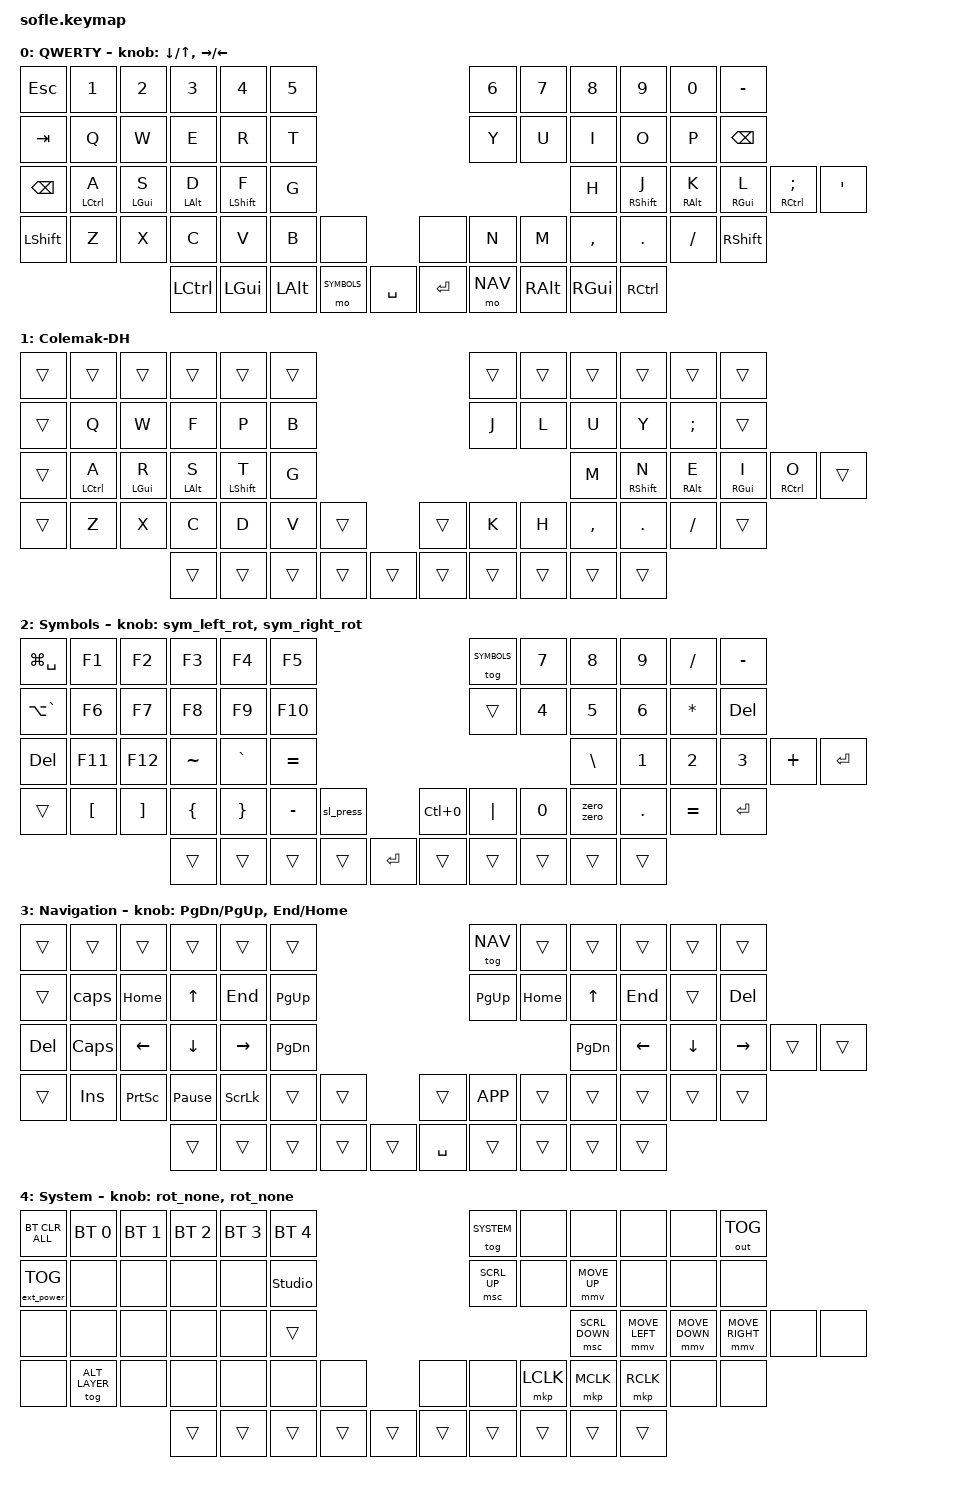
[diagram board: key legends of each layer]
/*
 * Copyright (c) 2020 The ZMK Contributors
 *
 * SPDX-License-Identifier: MIT
 */
#include <behaviors.dtsi>
#include <dt-bindings/zmk/bt.h>
#include <dt-bindings/zmk/ext_power.h>
#include <dt-bindings/zmk/keys.h>
#include <dt-bindings/zmk/pointing.h>
#include <dt-bindings/zmk/outputs.h>

// Encoders
&sensors { triggers-per-rotation = <20>; };
&left_encoder { steps = <80>; };
&right_encoder { steps = <80>; };
// V15: was triggers-per-rotation=30 / steps=60 (ratio 2 counts/trigger),
// which fired two logical triggers per physical detent on this hardware.
// 20/80 (ratio 4 counts/trigger) matches standard 20-detent EC11 encoders.
// First-guess fix, not yet hardware-verified — may need further tuning.

#define BASE     0
#define ALT_LAYER 1
#define SYMBOLS  2
#define NAV      3
#define SYSTEM   4

/ {
    // Activate SYSTEM layer by holding Raise (Symbols) and Lower (Nav) together
    conditional_layers {
        compatible = "zmk,conditional-layers";
        system_layer {
            if-layers = <SYMBOLS NAV>;
            then-layer = <SYSTEM>;
        };
    };

    // Sticky-modifier combos and Raise/Lower tap-dance (sticky/lock layers)
    // were removed by request — accidental repeated presses risked locking
    // a layer/modifier on unintentionally. Command Palette combo kept.
    behaviors {
        caps: caps {
            compatible = "zmk,behavior-caps-word";
            label = "CAPS";
            #binding-cells = <0>;
            continue-list = <POUND MINUS BACKSPACE UNDERSCORE>;
        };
        // Explicitly unbound encoder rotation (System layer, both encoders —
        // holding both Raise+Lower to reach this layer while also spinning
        // an encoder isn't practical, so left deliberately inert)
        rot_none: rot_none {
            compatible = "zmk,behavior-sensor-rotate";
            #sensor-binding-cells = <0>;
            bindings = <&none>, <&none>;
        };

        // ---------------------------------------------------------------
        // PHASE 2: Home-row mods — bilateral (cross-hand) positional hold-tap.
        // One behavior per hand; mod + tap keycode supplied per key position
        // below, so the same hml/hmr definitions serve both Base (QWERTY)
        // and the Colemak-DH overlay (only the tap letter differs per layer).
        // hold-trigger-key-positions restricts a "hold" to only register when
        // confirmed by a key press on the OPPOSITE hand (reduces accidental
        // mod-firing during normal same-hand typing rolls).
        // ---------------------------------------------------------------
        hml: home_row_mod_left {
            compatible = "zmk,behavior-hold-tap";
            label = "HRM_LEFT";
            #binding-cells = <2>;
            flavor = "balanced";
            tapping-term-ms = <200>;
            quick-tap-ms = <150>;
            require-prior-idle-ms = <120>;
            bindings = <&kp>, <&kp>;
            hold-trigger-key-positions = <6 7 8 9 10 11 18 19 20 21 22 23 30 31 32 33 34 35 43 44 45 46 47 48 49 55 56 57 58 59>;
            hold-trigger-on-release;
        };
        hmr: home_row_mod_right {
            compatible = "zmk,behavior-hold-tap";
            label = "HRM_RIGHT";
            #binding-cells = <2>;
            flavor = "balanced";
            tapping-term-ms = <200>;
            quick-tap-ms = <150>;
            require-prior-idle-ms = <120>;
            bindings = <&kp>, <&kp>;
            hold-trigger-key-positions = <0 1 2 3 4 5 12 13 14 15 16 17 24 25 26 27 28 29 36 37 38 39 40 41 42 50 51 52 53 54>;
            hold-trigger-on-release;
        };

        // ---------------------------------------------------------------
        // PHASE 2/2.1: Modifier-conditional encoders (nested mod-morph,
        // priority Ctrl > Alt > Shift > default). Only built where the
        // "held" variant is a genuinely different action — Base-right stays
        // untouched (all its variants are free Mod+key stacking). Navigation
        // needed real branching added for ctrl_held only (V15 fix — Ctrl+
        // PageUp/PageDown and Ctrl+Delete/Backspace are NOT simple stacking,
        // they're different keys entirely; shift_held/alt_held on Nav remain
        // free).
        //
        // V15: Base-left default/shift direction reversed (CW=Down,
        // CCW=Up) per feel preference. Base-left's alt_held now sends bare
        // Tab/Shift+Tab (not Alt+Tab/Alt+Shift+Tab) so the real, already-held
        // Alt modifier stays down across repeated taps — this keeps
        // Windows' Alt-Tab switcher UI open until Alt is released, instead
        // of flashing and dismissing immediately.
        //
        // NOTE: the keymap-current YAML/SVG previously had Base-right and
        // both Navigation encoders' CW/CCW documentation swapped vs what the
        // firmware actually sends — fixed in V15 docs.
        // ---------------------------------------------------------------

        // V16: bl_cw/bl_ccw mod-morph chains removed — base-left encoder
        // rotation is now a plain inc_dec_kp (see sensor-bindings below), so
        // any physically-held modifier (Ctrl/Alt/Shift) stacks naturally
        // onto Down/Up without needing dedicated behaviors.
        // V17: bl_press/bl_press_a removed entirely — both Base encoders'
        // push-buttons (positions 7/8 in row 4) are now unbound (&none).
        // Rotation-only on both encoders; pressing them wasn't comfortable
        // enough to be worth keeping a press action.

        sl_cw_a: sl_cw_a {
            compatible = "zmk,behavior-mod-morph";
            #binding-cells = <0>;
            bindings = <&kp C_VOL_UP>, <&kp C_NEXT>;
            mods = <(MOD_LALT|MOD_RALT)>;
        };
        sl_cw: sl_cw {
            compatible = "zmk,behavior-mod-morph";
            #binding-cells = <0>;
            bindings = <&sl_cw_a>, <&kp C_BRI_UP>;
            mods = <(MOD_LCTL|MOD_RCTL)>;
        };
        sl_ccw_a: sl_ccw_a {
            compatible = "zmk,behavior-mod-morph";
            #binding-cells = <0>;
            bindings = <&kp C_VOL_DN>, <&kp C_PREV>;
            mods = <(MOD_LALT|MOD_RALT)>;
        };
        sl_ccw: sl_ccw {
            compatible = "zmk,behavior-mod-morph";
            #binding-cells = <0>;
            bindings = <&sl_ccw_a>, <&kp C_BRI_DN>;
            mods = <(MOD_LCTL|MOD_RCTL)>;
        };
        sl_press_a: sl_press_a {
            compatible = "zmk,behavior-mod-morph";
            #binding-cells = <0>;
            bindings = <&kp C_MUTE>, <&kp C_PP>;
            mods = <(MOD_LALT|MOD_RALT)>;
        };
        sl_press: sl_press {
            compatible = "zmk,behavior-mod-morph";
            #binding-cells = <0>;
            bindings = <&sl_press_a>, <&none>;
            mods = <(MOD_LCTL|MOD_RCTL)>;
        };

        // V16: sr_cw_s/sr_ccw_s (shift-held Ctrl+Y/Ctrl+Z) and the whole
        // sr_press chain (shift/ctrl/alt press variants: PrtScn, Ctrl+S,
        // Alt+F4) were removed by request. Press now just sends Ctrl+0
        // directly in the layer bindings (no behavior needed). Rotation's
        // shift branch folded away — shift+encoder now falls through to
        // the same default as no modifier.
        sr_cw_a: sr_cw_a {
            compatible = "zmk,behavior-mod-morph";
            #binding-cells = <0>;
            // V20 fix: bare TAB (not LA(TAB)) so the real, already-held Alt
            // stays down across repeated taps -- keeps the Windows Alt-Tab
            // switcher open instead of flashing/dismissing each rotation.
            bindings = <&kp LC(EQUAL)>, <&kp TAB>;
            mods = <(MOD_LALT|MOD_RALT)>;
        };
        sr_cw: sr_cw {
            compatible = "zmk,behavior-mod-morph";
            #binding-cells = <0>;
            bindings = <&sr_cw_a>, <&kp LC(TAB)>;
            mods = <(MOD_LCTL|MOD_RCTL)>;
        };
        sr_ccw_a: sr_ccw_a {
            compatible = "zmk,behavior-mod-morph";
            #binding-cells = <0>;
            // V20 fix: bare Shift+Tab (not Alt+Shift+Tab) -- see sr_cw_a note.
            bindings = <&kp LC(MINUS)>, <&kp LS(TAB)>;
            mods = <(MOD_LALT|MOD_RALT)>;
        };
        sr_ccw: sr_ccw {
            compatible = "zmk,behavior-mod-morph";
            #binding-cells = <0>;
            bindings = <&sr_ccw_a>, <&kp LC(LS(TAB))>;
            mods = <(MOD_LCTL|MOD_RCTL)>;
        };

        // Navigation ctrl-held branches (V15): default (Down/Up, Right/Left)
        // is free with real Shift/Alt held (natural stacking), but ctrl_held
        // sends genuinely different keys (PageUp/PageDown, Delete/Backspace)
        // so it needs real branching like the others above.
        // V16: nav_left_cw/ccw and nav_right_cw/ccw mod-morph chains
        // removed — both Nav encoders are now plain inc_dec_kp (PgUp/PgDn,
        // Home/End — see sensor-bindings below), so held modifiers stack
        // naturally instead of needing explicit branches.

        // Sensor-rotate wrappers: sensor-bindings takes ONE entry per
        // encoder (not per direction), and that entry must itself be a
        // #sensor-binding-cells=0 behavior with separate cw/ccw bindings
        // (same pattern as rot_none above). These wrap the mod-morph chains
        // above so they can be used in sensor-bindings.
        sym_left_rot: sym_left_rot {
            compatible = "zmk,behavior-sensor-rotate";
            #sensor-binding-cells = <0>;
            bindings = <&sl_cw>, <&sl_ccw>;
        };
        sym_right_rot: sym_right_rot {
            compatible = "zmk,behavior-sensor-rotate";
            #sensor-binding-cells = <0>;
            bindings = <&sr_cw>, <&sr_ccw>;
        };
    };

    macros {
        // ZMK has no native "00" keypad keycode (only KP_N0-KP_N9), so this
        // taps 0 twice instead.
        zero_zero: zero_zero {
            compatible = "zmk,behavior-macro";
            #binding-cells = <0>;
            bindings = <&macro_tap &kp N0 &kp N0>;
        };
    };

    keymap {
        compatible = "zmk,keymap";

        default_layer {
            display-name = "QWERTY";
            // QWERTY default (William's arm/typing-speed accommodation while
            // learning Colemak-DH — see project notes). QWCM key (System
            // layer) toggles the Colemak-DH overlay on/off for practice.
            // Positions 42/43 (mid bottom-row) are the encoder push-buttons.
            // PHASE 2: home-row mods on A S D F / J K L ; (CAGS order,
            // pinky->index: Ctrl, Alt, GUI, Shift). Thumb row reordered to
            // match (Ctrl outermost, GUI innermost) for consistency.
            // Encoder rotation/press now modifier-conditional (see behaviors
            // block above).
            // ---------------------------------------------------------------------------------------------
            // |   Esc  |  1  |  2  |  3  |  4  |  5  |                | 6  |  7  |  8  |  9  |  0  |   -   |
            // |  Tab   |  Q  |  W  |  E  |  R  |  T  |                | Y  |  U  |  I  |  O  |  P  | BkSp  |
            // |  BkSp  | A/Ctrl | S/Alt | D/GUI | F/Shift |  G  |      | H  | J/Shift | K/GUI | L/Alt | ;/Ctrl |   '   |
            // | Shift  |  Z  |  X  |  C  |  V  |  B  | [MidClk*]|[Ret] | N  |  M  |  ,  |  .  |  /  | Shift |
            //                | Ctrl | Alt | GUI| Raise| Space |  | Return | Lower| GUI | Alt | Ctrl |
            bindings = <
&kp ESC         &kp N1  &kp N2  &kp N3  &kp N4  &kp N5                                                                &kp N6  &kp N7    &kp N8    &kp N9   &kp N0    &kp MINUS
&kp TAB         &kp Q   &kp W   &kp E   &kp R   &kp T                                                                 &kp Y   &kp U     &kp I     &kp O    &kp P     &kp BSPC
&kp BSPC        &hml LCTRL A &hml LGUI S &hml LALT D &hml LSHFT F &kp G                                               &kp H   &hmr RSHFT J &hmr RALT K &hmr RGUI L &hmr RCTRL SEMI &kp SQT
&kp LSHFT       &kp Z   &kp X   &kp C   &kp V   &kp B   &none        &none                                   &kp N   &kp M     &kp COMMA &kp DOT  &kp FSLH  &kp RSHFT
                        &kp LCTRL &kp LGUI &kp LALT &mo SYMBOLS &kp SPACE  &kp RETURN &mo NAV  &kp RALT &kp RGUI &kp RCTRL
            >;
            sensor-bindings = <&inc_dec_kp DOWN UP &inc_dec_kp RIGHT LEFT>;
        };

        colemak_layer {
            display-name = "Colemak-DH";
            // Thin overlay — transparent everywhere except the 26 letters.
            // Toggled on/off by the QWCM key on the System layer (&tog ALT_LAYER).
            // QWERTY (default_layer) is now the default; this overlay is reached
            // via the QWCM toggle key when Colemak-DH practice is wanted.
            // PHASE 2: home-row mods duplicated here with Colemak-DH letters
            // (A/Ctrl unchanged; R/Alt, S/GUI, T/Shift; mirrored N/Shift,
            // E/GUI, I/Alt, O/Ctrl) — same physical positions/mods as Base.
            bindings = <
&trans  &trans  &trans  &trans  &trans  &trans                                                          &trans  &trans  &trans  &trans  &trans  &trans
&trans  &kp Q   &kp W   &kp F   &kp P   &kp B                                                            &kp J   &kp L   &kp U   &kp Y   &kp SEMI &trans
&trans  &hml LCTRL A &hml LGUI R &hml LALT S &hml LSHFT T &kp G                                           &kp M   &hmr RSHFT N &hmr RALT E &hmr RGUI I &hmr RCTRL O &trans
&trans  &kp Z   &kp X   &kp C   &kp D   &kp V   &trans          &trans                                   &kp K   &kp H   &kp COMMA &kp DOT &kp FSLH &trans
                        &trans  &trans  &trans  &trans  &trans    &trans  &trans  &trans  &trans  &trans
            >;
            // No sensor-bindings — rotation falls through to Base.
        };

        symbols_layer {
            display-name = "Symbols";
            // Reached by holding Raise (left thumb). Numpad aligned under the
            // number row. PHASE 2: encoder press/rotation now modifier-
            // conditional (Ctrl=brightness/zoom-tabs, Alt=track/window-tabs,
            // Shift on right encoder=undo/redo/printscreen — see behaviors).
            bindings = <
&kp LG(SPACE)  &kp F1  &kp F2  &kp F3  &kp F4  &kp F5                                     &tog SYMBOLS  &kp N7  &kp N8  &kp N9    &kp FSLH  &kp MINUS
&kp LA(GRAVE)  &kp F6  &kp F7  &kp F8  &kp F9  &kp F10                                    &trans  &kp N4  &kp N5  &kp N6    &kp ASTRK &kp DEL
&kp DEL &kp F11 &kp F12 &kp TILDE &kp GRAVE &kp EQUAL       &kp BACKSLASH  &kp N1  &kp N2  &kp N3    &kp PLUS  &kp RETURN
&trans  &kp LEFT_BRACKET &kp RIGHT_BRACKET &kp LEFT_BRACE &kp RIGHT_BRACE &kp MINUS &sl_press  &kp LC(N0)   &kp PIPE  &kp N0  &zero_zero &kp DOT &kp EQUAL &kp RETURN
                        &trans  &trans  &trans  &trans  &kp RETURN    &trans  &trans  &trans  &trans  &trans
            >;
            sensor-bindings = <&sym_left_rot &sym_right_rot>;
        };

        nav_layer {
            display-name = "Navigation";
            // Reached by holding Lower (right thumb).
            // V20: full left-hand mirror of the right-hand navigation keys,
            // using QWERTY finger positions as the guide:
            //   Row2: Q=Caps Word, W=Home, E=Up, R=End, T=Page Up
            //   Row3: A=Caps Lock, S=Left, D=Down, F=Right, G=Page Down
            //   Row4: Z=Insert, X=Print Screen, C=Pause/Break, V=Scroll Lock
            // Right hand is unchanged (Home-row 2/3, arrows/PgUp/PgDn already
            // there) -- both hands now give the same functions.
            // V15: Undo/Cut/Copy/Paste and the bare Ctrl/Alt/Shift row were
            // removed (no purpose on this layer; use home-row mods instead).
            // Encoder press: unbound on both (see V16/V17 notes). Encoder
            // rotation ctrl_held branches (PageUp/PageDown, Delete/Backspace)
            // instead of relying on natural stacking (see behaviors above).
            bindings = <
&trans  &trans       &trans      &trans      &trans      &trans                                    &tog NAV &trans   &trans   &trans    &trans  &trans
&trans  &caps        &kp HOME    &kp UP      &kp END     &kp PG_UP                                 &kp PG_UP &kp HOME &kp UP   &kp END   &trans  &kp DEL
&kp DEL &kp CLCK      &kp LEFT    &kp DOWN    &kp RIGHT   &kp PG_DN                                 &kp PG_DN &kp LEFT &kp DOWN &kp RIGHT &trans  &trans
&trans  &kp INS       &kp PSCRN   &kp PAUSE_BREAK &kp SLCK &trans   &trans        &trans          &kp K_APP &trans  &trans   &trans    &trans  &trans
                        &trans  &trans  &trans  &trans  &trans    &kp SPACE  &trans  &trans  &trans  &trans
            >;
            sensor-bindings = <&inc_dec_kp PG_DN PG_UP &inc_dec_kp END HOME>;
        };

        system_layer {
            display-name = "System";
            // Reached by holding Raise+Lower together (conditional layer above).
            // QWCM toggle key lives here (row4, col1) — toggles the
            // Colemak-DH overlay layer on/off.
            bindings = <
&bt BT_CLR_ALL  &bt BT_SEL 0  &bt BT_SEL 1  &bt BT_SEL 2  &bt BT_SEL 3  &bt BT_SEL 4                          &tog SYSTEM       &none      &none          &none        &none        &out OUT_TOG
&ext_power EP_TOG &none       &none         &none         &none         &studio_unlock                       &msc SCRL_UP &none      &mmv MOVE_UP   &none        &none        &none
&none           &none         &none         &none         &none         &trans                                &msc SCRL_DOWN &mmv MOVE_LEFT &mmv MOVE_DOWN &mmv MOVE_RIGHT &none    &none
&none           &tog ALT_LAYER   &none         &none         &none         &none    &none          &none          &none      &mkp LCLK  &mkp MCLK      &mkp RCLK    &none        &none
                        &trans  &trans  &trans  &trans  &trans    &trans  &trans  &trans  &trans  &trans
            >;
            sensor-bindings = <&rot_none &rot_none>;
        };
    };
};
